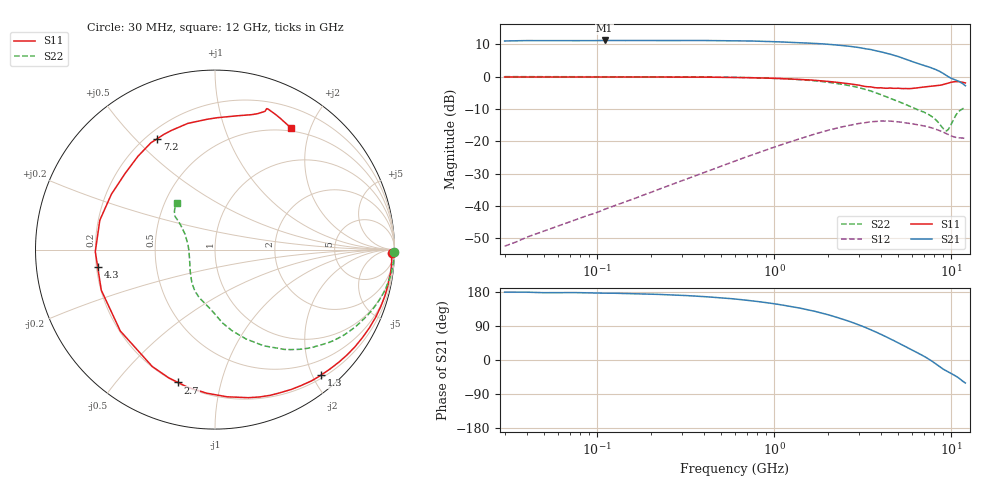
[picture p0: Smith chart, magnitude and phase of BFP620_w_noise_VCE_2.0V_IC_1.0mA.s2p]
! Infineon Technologies  Discrete & RF Semiconductors
! BFP620
! VCE =  2.0 V,  IC =  1.0 mA
! Common Emitter S-Parameters:  Nov 2015
# GHz  S  MA  R  50
!  f  S11  S21  S12  S22
! GHz  MAG  ANG  MAG  ANG  MAG  ANG  MAG  ANG
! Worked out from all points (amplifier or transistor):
!   239 points, 30 MHz to 12 GHz, reference 50 ohm
!   highest |S21| = 11.2 dB at 110 MHz (marker M1)
!   |S21| within 3 dB of that: start of sweep to 3.626 GHz
!   unconditionally stable (mu >= 1): 7.542 GHz to end of sweep
!   at 300 MHz: K = 0.01, MSG = 21.7 dB, |S12| = -32.2 dB
!   at 1.88 GHz: K = 0.24, MSG = 13.6 dB, |S12| = -17.0 dB
!   at 12 GHz: K = 1.89, MAG = 2.7 dB, |S12| = -19.1 dB
!   lowest NFmin = 0.71 dB at 450 MHz
!   S11 on the Smith chart (normalised r, x): 30 MHz: 48, -73; 1.3 GHz: 0.24, -2.13; 2.7 GHz: 0.20, -0.74; 4.3 GHz: 0.21, -0.07; 7.2 GHz: 0.24, +0.58; 12 GHz: 0.46, +1.71
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0.03  0.9876 -1.1  3.553 179.1  0.0024 83.9  0.9989 -0.7
0.085  0.986 -3.2  3.595 177.4  0.0069 86.6  0.9989 -1.8
0.11  0.9868 -4.1  3.619 176.3  0.0089 87.0  0.9983 -2.5
0.24  0.9835 -9.1  3.606 172.5  0.0196 84.6  0.995 -5.2
0.36  0.9813 -13.8  3.612 168.7  0.0295 81.9  0.9902 -7.7
0.6  0.9711 -23.0  3.575 161.0  0.0496 76.0  0.9753 -12.9
0.9  0.9495 -34.7  3.497 151.4  0.0738 67.9  0.9484 -18.9
1.3  0.9159 -49.9  3.358 139.6  0.1033 57.7  0.907 -26.3
1.64  0.8827 -63.0  3.269 130.0  0.1262 49.5  0.868 -32.5
2.06  0.8372 -79.7  3.145 118.2  0.1507 39.2  0.8113 -40.0
2.7  0.7683 -105.6  2.925 100.6  0.1788 24.7  0.7197 -50.6
3  0.7393 -118.2  2.815 92.6  0.1887 18.3  0.6763 -55.3
3.5  0.6956 -139.3  2.623 79.7  0.2006 7.9  0.6005 -63.2
4.3  0.6607 -171.5  2.294 60.8  0.2053 -7.4  0.4869 -75.0
4.5  0.667 -179.0  2.227 56.0  0.2056 -11.0  0.4621 -78.1
5  0.6623 165.7  2.047 45.2  0.2005 -18.7  0.4143 -83.7
5.5  0.6545 151.9  1.868 35.2  0.194 -25.3  0.3727 -88.4
7.2  0.6968 117.4  1.451 6.6  0.1698 -42.7  0.2719 -110.8
8.4  0.7275 93.4  1.241 -14.2  0.1496 -52.7  0.1988 -132.8
9.4  0.7797 74.7  1.034 -29.4  0.131 -58.1  0.1452 -177.4
11  0.8366 69.2  0.85 -47.4  0.1133 -57.0  0.291 140.2
12  0.799 58.0  0.722 -60.7  0.1105 -57.2  0.3372 129.4
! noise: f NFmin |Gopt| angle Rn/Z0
0.45  0.71  0.84  7  0.43
0.9  0.78  0.75  17  0.4
1.9  0.93  0.58  46  0.34
2.4  1.03  0.51  65  0.32
3.5  1.09  0.34  87  0.23
5.5  1.99  0.35  174  0.18
10  3.07  0.71  -63  1.84
